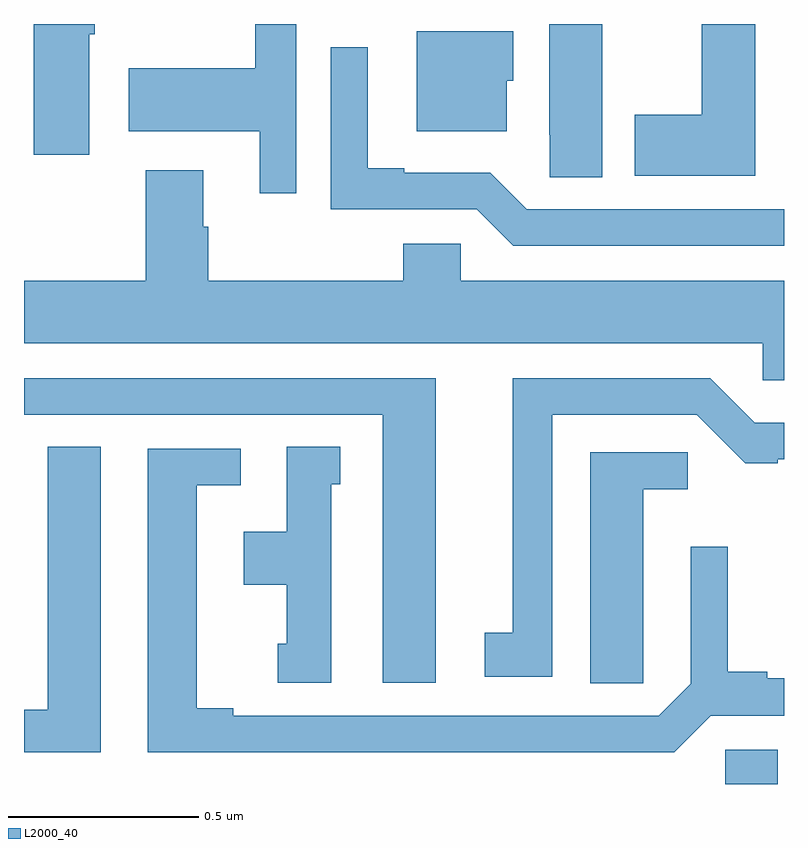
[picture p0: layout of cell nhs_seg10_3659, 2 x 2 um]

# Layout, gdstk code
import gdstk
lib = gdstk.Library(unit=1e-6, precision=1e-09)
def R(c, l, rs):  # rectangles x0, y0, x1, y1
    for r in rs: c.add(gdstk.rectangle(r[:2], r[2:], *l))
def P(c, l, *ps):  # polygons
    for p in ps: c.add(gdstk.Polygon(p, *l))
L2000_40 = (2000, 40)

nhs_seg10_3659 = lib.new_cell('nhs_seg10_3659')
R(nhs_seg10_3659, L2000_40, [(157.845,1288.5,157.983,1288.59)])
P(nhs_seg10_3659, L2000_40, [(156.172,1290.473),(156.186,1290.473),(156.186,1290.5),(156.026,1290.5),(156.026,1290.156),(156.172,1290.156)],
  [(157.522,1290.5),(157.382,1290.5),(157.382,1290.208),(157.383,1290.208),(157.383,1290.097),(157.522,1290.097)],
  [(156.717,1290.5),(156.609,1290.5),(156.609,1290.384),(156.276,1290.384),(156.276,1290.218),(156.62,1290.218),(156.62,1290.054),(156.717,1290.054)],
  [(157.924,1290.5),(157.784,1290.5),(157.784,1290.261),(157.607,1290.261),(157.607,1290.101),(157.924,1290.101)],
  [(157.27,1290.351),(157.288,1290.351),(157.288,1290.481),(157.034,1290.481),(157.034,1290.218),(157.27,1290.218)],
  [(158,1290.012),(157.323,1290.012),(157.227,1290.108),(157,1290.108),(157,1290.121),(156.904,1290.121),(156.904,1290.439),(156.807,1290.439),(156.807,1290.012),(157.191,1290.012),(157.287,1289.916),(158,1289.916)],
  [(158,1289.824),(157.149,1289.824),(157.149,1289.922),(156.998,1289.922),(156.998,1289.824),(156.485,1289.824),(156.485,1289.966),(156.472,1289.966),(156.472,1290.115),(156.32,1290.115),(156.32,1289.824),(156,1289.824),(156,1289.66),(157.944,1289.66),(157.944,1289.562),(158,1289.562)],
  [(157.39,1289.472),(157.77,1289.472),(157.898,1289.344),(157.984,1289.344),(157.984,1289.355),(158,1289.355),(158,1289.451),(157.923,1289.451),(157.806,1289.568),(157.286,1289.568),(157.286,1288.898),(157.212,1288.898),(157.212,1288.782),(157.39,1288.782)],
  [(157.084,1289.568),(156,1289.568),(156,1289.472),(156.944,1289.472),(156.944,1288.767),(157.084,1288.767)],
  [(156.202,1289.387),(156.062,1289.387),(156.062,1288.695),(156,1288.695),(156,1288.584),(156.202,1288.584)],
  [(156.808,1289.289),(156.832,1289.289),(156.832,1289.387),(156.692,1289.387),(156.692,1289.164),(156.578,1289.164),(156.578,1289.024),(156.692,1289.024),(156.692,1288.869),(156.668,1288.869),(156.668,1288.767),(156.808,1288.767)],
  [(157.807,1288.68),(158,1288.68),(158,1288.778),(157.956,1288.778),(157.956,1288.796),(157.852,1288.796),(157.852,1289.125),(157.755,1289.125),(157.755,1288.764),(157.671,1288.68),(156.55,1288.68),(156.55,1288.7),(156.454,1288.7),(156.454,1289.286),(156.571,1289.286),(156.571,1289.382),(156.326,1289.382),(156.326,1288.584),(157.711,1288.584)],
  [(157.629,1288.873),(157.63,1288.873),(157.63,1289.276),(157.747,1289.276),(157.747,1289.373),(157.49,1289.373),(157.49,1288.765),(157.629,1288.765)])

lib.write_gds('nhs_seg10_3659.gds')
